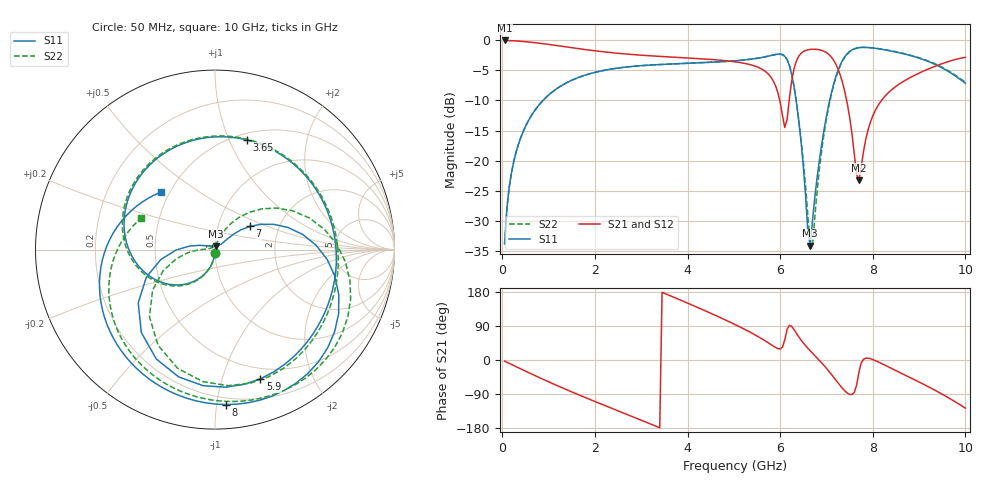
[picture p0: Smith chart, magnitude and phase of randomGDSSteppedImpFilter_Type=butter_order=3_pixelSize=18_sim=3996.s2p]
! freq	dB(S11)	phase(S11)	dB(S12)	phase(S12)
!  dB(S21)	phase(S21)	dB(S22)	phase(S22)
!S-par simulation data
#  GHz  S  DB  R 50
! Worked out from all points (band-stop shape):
!   200 points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, 50 MHz to 10 GHz, reference 50 ohm
!   highest |S21| = -0.01 dB at 50 MHz (marker M1); lowest = -23.3 dB at 7.7 GHz (marker M2)
!   |S21| within 3 dB of the highest: start of sweep to 4.201 GHz; 6.377 GHz to 7.128 GHz (750.6 MHz wide, 11.1 % of centre) (the widest 2 of 3)
!   lowest |S11| = -34.2 dB at 6.65 GHz (marker M3), VSWR 1.04, Z = 50.4 + j1.92 ohm
!   |S11| at or under -10 dB: start of sweep to 878.8 MHz; 6.345 GHz to 7.069 GHz (724.4 MHz wide, 10.8 % of centre)
!   |S22| runs from -34.3 to -1.2 dB; largest |S21 - S12| = 0
!   S11 on the Smith chart (normalised r, x): 50 MHz: 1.00, -0.04; 3.65 GHz: 0.57, +1.16; 5.9 GHz: 0.39, -1.34; 7 GHz: 1.42, +0.39; 8 GHz: 0.15, -1.06; 10 GHz: 0.45, +0.36
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0.05  -33.88 -93.0  -0.01 -3.0  -0.01 -3.0  -33.90 -92.9
0.2  -21.98 -102.3  -0.05 -11.9  -0.05 -11.9  -21.97 -102.0
0.5  -14.33 -120.2  -0.21 -29.4  -0.21 -29.4  -14.33 -119.3
1.1  -8.46 -154.5  -0.77 -63.0  -0.77 -63.0  -8.46 -152.4
1.75  -5.88 170.9  -1.48 -96.9  -1.48 -96.9  -5.87 174.3
2.6  -4.50 127.6  -2.22 -139.1  -2.22 -139.1  -4.50 133.1
3.4  -4.02 86.8  -2.66 -178.8  -2.66 -178.8  -4.01 94.5
3.65  -3.93 73.8  -2.77 168.4  -2.77 168.4  -3.92 82.1
5.05  -3.38 -3.6  -3.59 92.1  -3.59 92.1  -3.38 7.2
5.9  -2.35 -70.6  -7.54 33.1  -7.54 33.1  -2.34 -59.9
6.1  -2.64 -105.9  -14.50 53.2  -14.50 53.2  -2.63 -95.2
6.3  -7.71 -158.2  -4.72 80.2  -4.72 80.2  -7.63 -146.9
6.65  -34.17 76.2  -1.50 24.1  -1.50 24.1  -34.26 147.3
6.7  -29.92 47.0  -1.47 17.7  -1.47 17.7  -34.16 101.3
7  -12.60 33.5  -2.02 -21.9  -2.02 -21.9  -13.10 53.5
7.2  -6.11 9.9  -3.91 -52.6  -3.91 -52.6  -6.28 26.4
7.4  -2.67 -20.2  -8.67 -81.8  -8.67 -81.8  -2.74 -5.2
7.7  -1.21 -58.7  -23.29 -32.9  -23.29 -32.9  -1.22 -44.8
8  -1.26 -86.0  -12.56 1.3  -12.56 1.3  -1.24 -72.5
8.35  -1.70 -110.9  -8.61 -18.9  -8.61 -18.9  -1.66 -97.4
9.15  -3.36 -161.3  -4.92 -67.4  -4.92 -67.4  -3.29 -145.9
10  -7.12 133.5  -2.82 -127.1  -2.82 -127.1  -6.97 156.9
